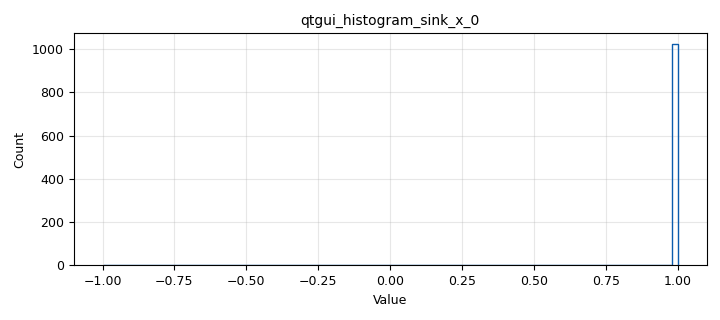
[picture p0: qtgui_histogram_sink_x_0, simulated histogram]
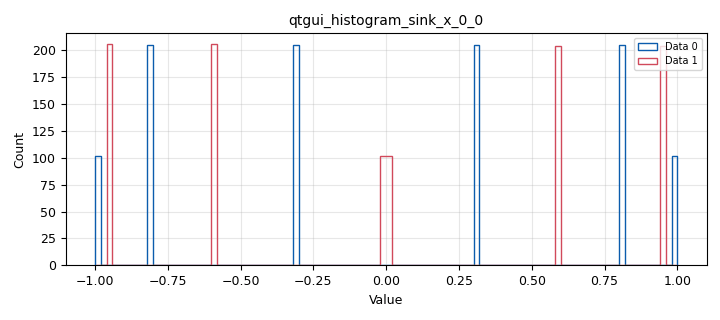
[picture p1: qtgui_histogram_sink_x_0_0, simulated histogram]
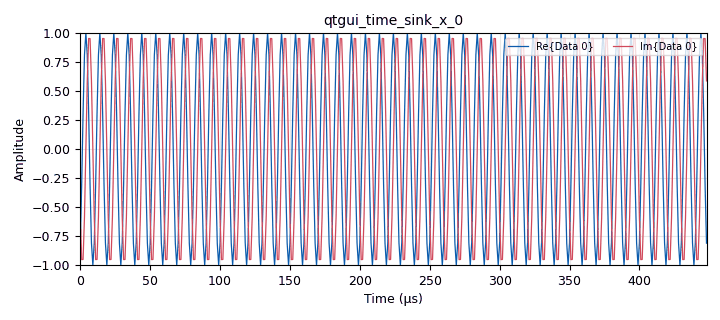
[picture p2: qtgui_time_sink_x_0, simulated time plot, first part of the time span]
options:
  parameters:
    generate_options: qt_gui
    id: reto7
    output_language: python
    title: Not titled yet
  states: {}

blocks:
- name: Amplitud
  id: variable_qtgui_range
  parameters:
    start: '0'
    step: '100e-3'
    stop: '5'
    value: '1'
  states: {}
- name: N_0
  id: variable_qtgui_range
  parameters:
    start: '0'
    step: '10e-3'
    stop: '1'
    value: '500e-3'
  states: {}
- name: samp_rate
  id: variable
  parameters:
    value: 1e6
  states: {}
- name: analog_noise_source_x_0
  id: analog_noise_source_x
  parameters:
    amp: Amplitud
    noise_type: analog.GR_GAUSSIAN
    seed: '0'
    type: complex
  states: {state: disabled}
- name: analog_sig_source_x_0
  id: analog_sig_source_x
  parameters:
    amp: Amplitud
    freq: 100e3
    offset: '0'
    phase: '0'
    samp_rate: samp_rate
    type: complex
    waveform: analog.GR_SIN_WAVE
  states: {}
- name: b
  id: qtgui_number_sink
  parameters:
    graph_type: qtgui.NUM_GRAPH_HORIZ
    name: '"media"'
    type: float
  states: {}
- name: blocks_complex_to_float_0
  id: blocks_complex_to_float
  parameters: {}
  states: {}
- name: blocks_stream_to_vector_decimator_0
  id: blocks_stream_to_vector_decimator
  parameters:
    sample_rate: samp_rate
    type: complex
    vec_rate: '1000'
    vlen: '1024'
  states: {}
- name: blocks_throttle2_0
  id: blocks_throttle2
  parameters:
    samples_per_second: samp_rate
    type: complex
  states: {}
- name: c
  id: qtgui_number_sink
  parameters:
    graph_type: qtgui.NUM_GRAPH_HORIZ
    name: '"std"'
    type: float
  states: {}
- name: epy_block_0
  id: epy_block
  parameters:
    _source_code: |
      import numpy as np
      from gnuradio import gr

      class blk(gr.sync_block):
          def __init__(self):
              gr.sync_block.__init__(
                  self,
                  name='Estadísticas de Amplitud',
                  in_sig=[(np.complex64, 1024)],   # <-- entrada vectorial de 1024 muestras (puedes ajustar el tamaño)
                  out_sig=[np.float32, np.float32]  # dos salidas escalares
              )

          def work(self, input_items, output_items):
              x = input_items[0][0]  # vector de entrada (una ventana)

              # Calcular magnitudes
              magnitudes = np.abs(x)

              # Calcular media y desviación estándar
              media = np.mean(magnitudes)
              desviacion = np.std(magnitudes)

              # Asignar resultados a las salidas
              output_items[0][0] = media
              output_items[1][0] = desviacion

              return 1  # generamos un solo valor por ventana
  states: {}
- name: epy_block_1
  id: epy_block
  parameters:
    _source_code: |
      import numpy as np
      from gnuradio import gr

      class blk(gr.sync_block):
          """Bloque que calcula la potencia promedio de una ventana compleja"""

          def __init__(self):
              gr.sync_block.__init__(
                  self,
                  name='Potencia Promedio',        # Nombre del bloque
                  in_sig=[(np.complex64, 1024)],   # Una entrada: vector complejo de tamaño 1024
                  out_sig=[np.float32],            # Una salida: número flotante
              )

          def work(self, input_items, output_items):
              x = input_items[0]                  # Ventana de entrada (vector complejo)
              power = np.mean(np.abs(x)**2)       # Potencia promedio
              output_items[0][0] = power          # Salida
              return 1                            # Generamos una salida por ventana
    alias: POTENCIA PROMEDIO
  states: {}
- name: qtgui_histogram_sink_x_0
  id: qtgui_histogram_sink_x
  parameters:
    bins: '100'
    size: '1024'
    type: float
    xmax: '1'
    xmin: '-1'
  states: {}
- name: qtgui_histogram_sink_x_0_0
  id: qtgui_histogram_sink_x
  parameters:
    accum: 'True'
    bins: '100'
    nconnections: '2'
    size: '1024'
    type: float
    xmax: '1'
    xmin: '-1'
  states: {}
- name: qtgui_time_sink_x_0
  id: qtgui_time_sink_x
  parameters:
    size: '1024'
    srate: samp_rate
    type: complex
  states: {}

connections:
- [analog_noise_source_x_0, '0', blocks_throttle2_0, '0']
- [analog_sig_source_x_0, '0', blocks_throttle2_0, '0']
- [blocks_complex_to_float_0, '0', qtgui_histogram_sink_x_0_0, '0']
- [blocks_complex_to_float_0, '1', qtgui_histogram_sink_x_0_0, '1']
- [blocks_stream_to_vector_decimator_0, '0', epy_block_0, '0']
- [blocks_stream_to_vector_decimator_0, '0', epy_block_1, '0']
- [blocks_throttle2_0, '0', blocks_complex_to_float_0, '0']
- [blocks_throttle2_0, '0', blocks_stream_to_vector_decimator_0, '0']
- [blocks_throttle2_0, '0', qtgui_time_sink_x_0, '0']
- [epy_block_0, '0', b, '0']
- [epy_block_0, '1', c, '0']
- [epy_block_1, '0', qtgui_histogram_sink_x_0, '0']

metadata:
  file_format: 1
  grc_version: 3.10.12.0
